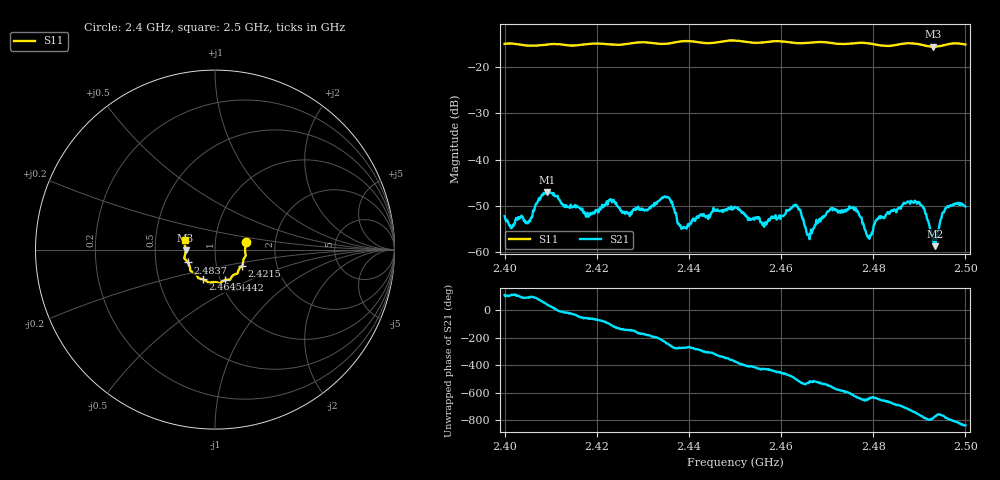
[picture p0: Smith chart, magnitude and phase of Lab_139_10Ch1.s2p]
# Hz S RI R
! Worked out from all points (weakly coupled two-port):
!   601 points, 2.4 GHz to 2.5 GHz, reference 50 ohm
!   highest |S21| = -46.97 dB at 2.4092 GHz (marker M1); lowest = -58.7 dB at 2.4935 GHz (marker M2)
!   lowest |S11| = -15.7 dB at 2.493 GHz (marker M3), VSWR 1.39, Z = 35.9 - j0.215 ohm
!   |S11| at or under -10 dB: start of sweep to end of sweep
!   S12 and S22 are empty: the file has one direction only
!   S11 on the Smith chart (normalised r, x): 2.4 GHz: 1.41, +0.12; 2.4215 GHz: 1.33, -0.25; 2.4442 GHz: 1.05, -0.37; 2.4645 GHz: 0.83, -0.29; 2.4837 GHz: 0.73, -0.11; 2.5 GHz: 0.71, +0.07
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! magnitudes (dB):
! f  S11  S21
! 2.4 GHz  -15.1  -52.2
! 2.405 GHz  -15.5  -53.8
! 2.4092 GHz  -15.3  -47.0
! 2.4167 GHz  -15.3  -50.8
! 2.4215 GHz  -15.1  -49.9
! 2.4333 GHz  -15.1  -49.0
! 2.4358 GHz  -15.0  -48.5
! 2.4388 GHz  -14.5  -54.5
! 2.4442 GHz  -15.0  -52.8
! 2.45 GHz  -14.4  -50.2
! 2.4563 GHz  -14.8  -54.5
! 2.4645 GHz  -15.0  -52.1
! 2.4667 GHz  -14.8  -55.9
! 2.4752 GHz  -15.0  -50.5
! 2.4792 GHz  -15.0  -57.1
! 2.4833 GHz  -15.6  -51.6
! 2.4837 GHz  -15.5  -51.3
! 2.4902 GHz  -15.2  -49.7
! 2.493 GHz  -15.7  -57.7
! 2.4935 GHz  -15.7  -58.7
! 2.4957 GHz  -15.3  -50.5
! 2.5 GHz  -15.3  -50.1
